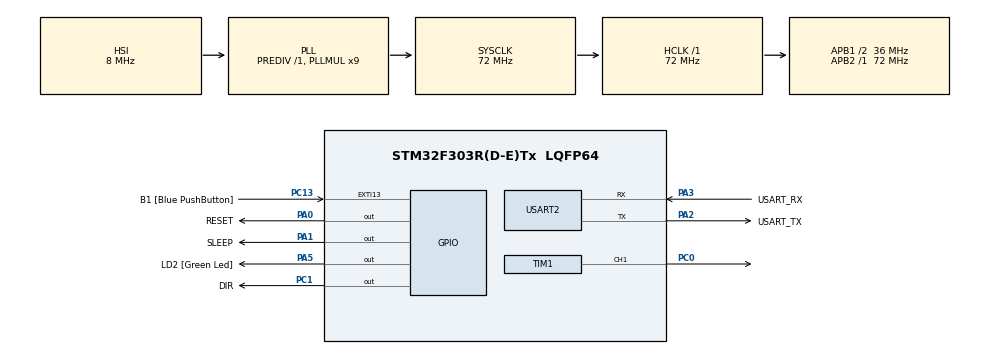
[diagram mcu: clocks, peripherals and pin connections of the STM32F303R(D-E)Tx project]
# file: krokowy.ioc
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Mcu.Family=STM32F3
Mcu.Name=STM32F303R(D-E)Tx
Mcu.Package=LQFP64
NVIC.PriorityGroup=NVIC_PRIORITYGROUP_0
NVIC.TIM2_IRQn=true\:0\:0\:false\:false\:true\:true\:true
PA0.GPIO_Label=RESET
PA0.Signal=GPIO_Output
PA1.GPIO_Label=SLEEP
PA1.Signal=GPIO_Output
PA13.GPIO_Label=TMS
PA13.Mode=Serial_Wire
PA13.Signal=SYS_JTMS-SWDIO
PA14.GPIO_Label=TCK
PA14.Mode=Serial_Wire
PA14.Signal=SYS_JTCK-SWCLK
PA2.GPIO_Label=USART_TX
PA2.GPIO_Mode=GPIO_MODE_AF_PP
PA2.GPIO_PuPd=GPIO_NOPULL
PA2.GPIO_Speed=GPIO_SPEED_FREQ_LOW
PA2.Mode=Asynchronous
PA2.Signal=USART2_TX
PA3.GPIO_Label=USART_RX
PA3.GPIO_Mode=GPIO_MODE_AF_PP
PA3.GPIO_PuPd=GPIO_NOPULL
PA3.GPIO_Speed=GPIO_SPEED_FREQ_LOW
PA3.Mode=Asynchronous
PA3.Signal=USART2_RX
PA5.GPIO_Label=LD2 [Green Led]
PA5.GPIO_Mode=GPIO_MODE_OUTPUT_PP
PA5.GPIO_PuPd=GPIO_NOPULL
PA5.GPIO_Speed=GPIO_SPEED_FREQ_LOW
PA5.Signal=GPIO_Output
PB3.GPIO_Label=SWO
PB3.Signal=SYS_JTDO-TRACESWO
PC0.Signal=S_TIM1_CH1
PC1.GPIO_Label=DIR
PC1.Signal=GPIO_Output
PC13.GPIO_Label=B1 [Blue PushButton]
PC13.GPIO_ModeDefaultEXTI=GPIO_MODE_IT_FALLING
PC13.Signal=GPXTI13
PC14-OSC32_IN.Mode=LSE-External-Oscillator
PC14-OSC32_IN.Signal=RCC_OSC32_IN
PC15-OSC32_OUT.Mode=LSE-External-Oscillator
PC15-OSC32_OUT.Signal=RCC_OSC32_OUT
PF0-OSC_IN.Mode=HSE-External-Clock-Source
PF0-OSC_IN.Signal=RCC_OSC_IN
PF1-OSC_OUT.Signal=RCC_OSC_OUT
ProjectManager.HeapSize=0x200
ProjectManager.StackSize=0x400
ProjectManager.TargetToolchain=STM32CubeIDE
RCC.AHBFreq_Value=72000000
RCC.APB1CLKDivider=RCC_HCLK_DIV2
RCC.APB1Freq_Value=36000000
RCC.APB1TimFreq_Value=72000000
RCC.APB2Freq_Value=72000000
RCC.APB2TimFreq_Value=72000000
RCC.CortexFreq_Value=72000000
RCC.HCLKFreq_Value=72000000
RCC.HSE_VALUE=8000000
RCC.HSI_VALUE=8000000
RCC.PLLM=8
RCC.PLLMUL=RCC_PLL_MUL9
RCC.PLLN=336
RCC.PLLP=RCC_PLLP_DIV4
RCC.PLLQ=7
RCC.RCC_PLLsource_Clock_Source_FROM_HSE=RCC_HSE_PREDIV_DIV2
RCC.SYSCLKFreq_VALUE=72000000
RCC.SYSCLKSourceVirtual=RCC_SYSCLKSOURCE_PLLCLK
RCC.USBFreq_Value=72000000
SH.S_TIM1_CH1.0=TIM1_CH1,PWM Generation1 CH1
TIM1.AutoReloadPreload=TIM_AUTORELOAD_PRELOAD_ENABLE
TIM1.Channel-PWM\ Generation1\ CH1=TIM_CHANNEL_1
TIM1.Period=9999
TIM1.Prescaler=31
TIM1.Pulse-PWM\ Generation1\ CH1=5000
TIM1.TIM_MasterOutputTrigger=TIM_TRGO_UPDATE
TIM1.TIM_MasterSlaveMode=TIM_MASTERSLAVEMODE_ENABLE
USART2.VirtualMode-Asynchronous=VM_ASYNC
VP_TIM1_VS_ClockSourceINT.Mode=Internal
VP_TIM2_VS_ClockSourceITR.Mode=TriggerSource_ITR0
VP_TIM2_VS_ControllerModeClock.Mode=Clock Mode
board=NUCLEO-F303RE

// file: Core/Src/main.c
/* USER CODE BEGIN Header */
/**
  ******************************************************************************
  * @file           : main.c
  * @brief          : Main program body
  ******************************************************************************
  * @attention
  *
  * <h2><center>&copy; Copyright (c) 2020 STMicroelectronics.
  * All rights reserved.</center></h2>
  *
  * This software component is licensed by ST under BSD 3-Clause license,
  * the "License"; You may not use this file except in compliance with the
  * License. You may obtain a copy of the License at:
  *                        opensource.org/licenses/BSD-3-Clause
  *
  ******************************************************************************
  */
/* USER CODE END Header */

#include "main.h"
#include "tim.h"
#include "usart.h"
#include "gpio.h"

/* USER CODE BEGIN Includes */
#include "stepper.h"
/* USER CODE END Includes */

/* USER CODE BEGIN PV */
volatile uint8_t s;
uint8_t p;
/* USER CODE END PV */

void SystemClock_Config(void);

int main(void)
{

  /* MCU Configuration--------------------------------------------------------*/

  /* Reset of all peripherals, Initializes the Flash interface and the Systick. */
  HAL_Init();

  /* Configure the system clock */
  SystemClock_Config();

  /* Initialize all configured peripherals */
  MX_GPIO_Init();
  MX_USART2_UART_Init();
  MX_TIM1_Init();
  MX_TIM2_Init();
  /* USER CODE BEGIN 2 */
  stepper_init();
  s = 0;
  p = 0;
  /* USER CODE END 2 */

  /* Infinite loop */
  /* USER CODE BEGIN WHILE */
  while (1)
  {
	  if(!s && p)
	  {
		  stepper_rot(45, 60, STEPPER_CCW);
		  s = 1;
	  }
	  else if(s == 2 && p)
	  {
		  HAL_Delay(1000);
		  s = 0;
	  }

	  if(!HAL_GPIO_ReadPin(B1_GPIO_Port, B1_Pin))
	  {
		  while(!HAL_GPIO_ReadPin(B1_GPIO_Port, B1_Pin));
		  p = !p;

		  if(p == 0)
		  {
			  stepper_stop();
		  }
	  }
    /* USER CODE END WHILE */

  }
}

void SystemClock_Config(void)
{
  RCC_OscInitTypeDef RCC_OscInitStruct = {0};
  RCC_ClkInitTypeDef RCC_ClkInitStruct = {0};
  RCC_PeriphCLKInitTypeDef PeriphClkInit = {0};

  /** Initializes the CPU, AHB and APB busses clocks
  */
  RCC_OscInitStruct.OscillatorType = RCC_OSCILLATORTYPE_HSI;
  RCC_OscInitStruct.HSIState = RCC_HSI_ON;
  RCC_OscInitStruct.HSICalibrationValue = RCC_HSICALIBRATION_DEFAULT;
  RCC_OscInitStruct.PLL.PLLState = RCC_PLL_ON;
  RCC_OscInitStruct.PLL.PLLSource = RCC_PLLSOURCE_HSI;
  RCC_OscInitStruct.PLL.PLLMUL = RCC_PLL_MUL9;
  RCC_OscInitStruct.PLL.PREDIV = RCC_PREDIV_DIV1;
  if (HAL_RCC_OscConfig(&RCC_OscInitStruct) != HAL_OK)
  {
    Error_Handler();
  }
  /** Initializes the CPU, AHB and APB busses clocks
  */
  RCC_ClkInitStruct.ClockType = RCC_CLOCKTYPE_HCLK|RCC_CLOCKTYPE_SYSCLK
                              |RCC_CLOCKTYPE_PCLK1|RCC_CLOCKTYPE_PCLK2;
  RCC_ClkInitStruct.SYSCLKSource = RCC_SYSCLKSOURCE_PLLCLK;
  RCC_ClkInitStruct.AHBCLKDivider = RCC_SYSCLK_DIV1;
  RCC_ClkInitStruct.APB1CLKDivider = RCC_HCLK_DIV2;
  RCC_ClkInitStruct.APB2CLKDivider = RCC_HCLK_DIV1;

  if (HAL_RCC_ClockConfig(&RCC_ClkInitStruct, FLASH_LATENCY_2) != HAL_OK)
  {
    Error_Handler();
  }
  PeriphClkInit.PeriphClockSelection = RCC_PERIPHCLK_USART2|RCC_PERIPHCLK_TIM1
                              |RCC_PERIPHCLK_TIM2;
  PeriphClkInit.Usart2ClockSelection = RCC_USART2CLKSOURCE_PCLK1;
  PeriphClkInit.Tim1ClockSelection = RCC_TIM1CLK_HCLK;
  PeriphClkInit.Tim2ClockSelection = RCC_TIM2CLK_HCLK;
  if (HAL_RCCEx_PeriphCLKConfig(&PeriphClkInit) != HAL_OK)
  {
    Error_Handler();
  }
}

/* USER CODE BEGIN 4 */
void HAL_TIM_PeriodElapsedCallback(TIM_HandleTypeDef *htim) {
	if(htim->Instance == TIM2)
	{
		stepper_pause();
		s = 2;
	}
}
/* USER CODE END 4 */

void Error_Handler(void)
{
}

/************************ (C) COPYRIGHT STMicroelectronics *****END OF FILE****/
